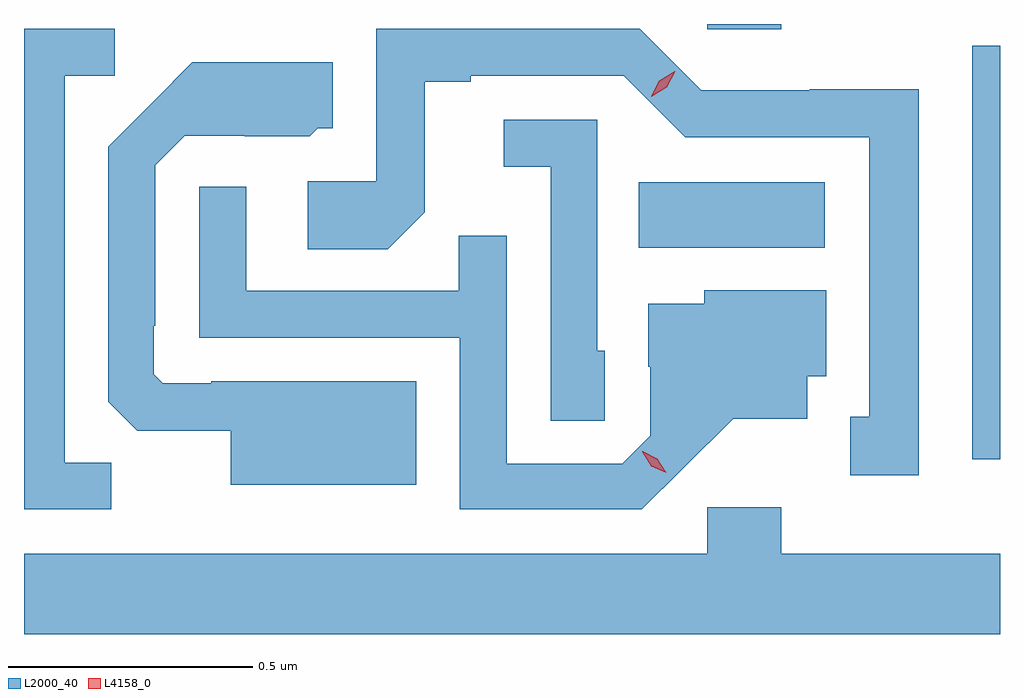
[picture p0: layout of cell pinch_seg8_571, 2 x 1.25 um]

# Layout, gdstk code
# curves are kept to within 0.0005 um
import gdstk
lib = gdstk.Library(unit=1e-6, precision=1e-09)
def R(c, l, rs):  # rectangles x0, y0, x1, y1
    for r in rs: c.add(gdstk.rectangle(r[:2], r[2:], *l))
def P(c, l, *ps):  # polygons
    for p in ps: c.add(gdstk.Polygon(p, *l))
L2000_40 = (2000, 40)
L4158_0 = (4158, 0)

pinch_seg8_571 = lib.new_cell('pinch_seg8_571')
R(pinch_seg8_571, L2000_40, [(136.941,1122.186,136.998,1123.033), (136.258,1122.62,136.639,1122.754), (136.398,1123.067,136.55,1123.078)])
P(pinch_seg8_571, L2000_40, [(136.831,1122.944),(136.608,1122.944),(136.608,1122.942),(136.386,1122.942),(136.26,1123.068),(135.72,1123.068),(135.72,1122.756),(135.579,1122.756),(135.579,1122.616),(135.743,1122.616),(135.819,1122.692),(135.819,1122.96),(135.913,1122.96),(135.913,1122.972),(136.227,1122.972),(136.353,1122.846),(136.73,1122.846),(136.73,1122.273),(136.691,1122.273),(136.691,1122.153),(136.831,1122.153)],
  [(135.177,1122.179),(135.081,1122.179),(135.081,1122.972),(135.184,1122.972),(135.184,1123.068),(134.998,1123.068),(134.998,1122.084),(135.177,1122.084)],
  [(135.802,1122.346),(135.382,1122.346),(135.382,1122.342),(135.282,1122.342),(135.264,1122.36),(135.264,1122.46),(135.267,1122.46),(135.267,1122.789),(135.327,1122.849),(135.45,1122.849),(135.45,1122.848),(135.584,1122.848),(135.6,1122.864),(135.631,1122.864),(135.631,1123),(135.343,1123),(135.171,1122.826),(135.171,1122.304),(135.23,1122.245),(135.422,1122.245),(135.422,1122.134),(135.802,1122.134)],
  [(136.188,1122.408),(136.173,1122.408),(136.173,1122.882),(135.981,1122.882),(135.981,1122.785),(136.077,1122.785),(136.077,1122.265),(136.188,1122.265)],
  [(136.348,1122.167),(136.451,1122.269),(136.603,1122.269),(136.603,1122.356),(136.642,1122.356),(136.642,1122.532),(136.392,1122.532),(136.392,1122.505),(136.277,1122.505),(136.277,1122.376),(136.281,1122.376),(136.281,1122.234),(136.224,1122.177),(135.987,1122.177),(135.987,1122.644),(135.889,1122.644),(135.889,1122.531),(135.453,1122.531),(135.453,1122.745),(135.357,1122.745),(135.357,1122.435),(135.891,1122.435),(135.891,1122.084),(136.264,1122.084)],
  [(136.998,1121.992),(136.55,1121.992),(136.55,1122.088),(136.398,1122.088),(136.398,1121.992),(134.998,1121.992),(134.998,1121.828),(136.998,1121.828)])
P(pinch_seg8_571, L4158_0, [(136.283,1122.929),(136.283,1122.93),(136.3,1122.962),(136.332,1122.981),(136.333,1122.981),(136.333,1122.981),(136.315,1122.948),(136.283,1122.929)],
  [(136.314,1122.158),(136.283,1122.172),(136.265,1122.201),(136.265,1122.202),(136.266,1122.202),(136.296,1122.187),(136.314,1122.158),(136.314,1122.158)])

lib.write_gds('pinch_seg8_571.gds')
